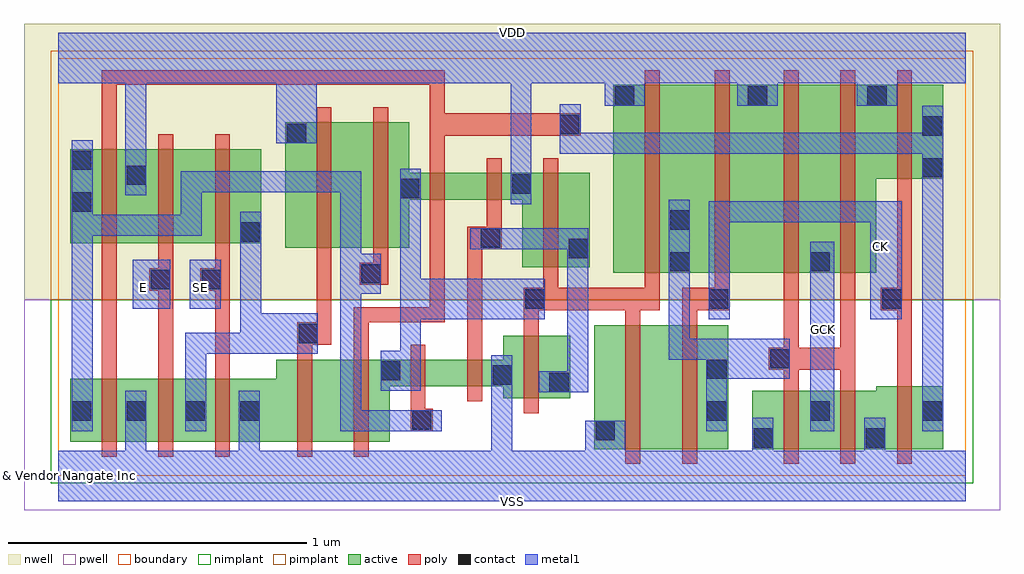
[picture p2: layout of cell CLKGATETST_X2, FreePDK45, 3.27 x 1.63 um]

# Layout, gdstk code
import gdstk
lib = gdstk.Library(unit=1e-6, precision=1e-10)
def R(c, l, rs):  # rectangles x0, y0, x1, y1
    for r in rs: c.add(gdstk.rectangle(r[:2], r[2:], *l))
def P(c, l, *ps):  # polygons
    for p in ps: c.add(gdstk.Polygon(p, *l))
active = (1, 0)
pwell = (2, 0)
nwell = (3, 0)
nimplant = (4, 0)
pimplant = (5, 0)
poly = (9, 0)
contact = (10, 0)
metal1 = (11, 0)
boundary = (235, 0)

clkgatetst_x2 = lib.new_cell('CLKGATETST_X2')
R(clkgatetst_x2, active, [(1.795,0.09,2.245,0.505), (0.04,0.78,0.68,1.095)])
P(clkgatetst_x2, active, [(0.04,0.115),(0.04,0.325),(0.73,0.325),(0.73,0.39),(1.49,0.39),(1.49,0.47),(1.715,0.47),(1.715,0.26),(1.49,0.26),(1.49,0.3),(1.11,0.3),(1.11,0.115)],
  [(1.555,0.7),(1.555,0.925),(1.175,0.925),(1.175,0.765),(0.76,0.765),(0.76,1.185),(1.175,1.185),(1.175,1.015),(1.78,1.015),(1.78,0.7)],
  [(2.325,0.09),(2.325,0.285),(2.74,0.285),(2.74,0.3),(2.965,0.3),(2.965,0.09)],
  [(1.86,0.68),(1.86,1.31),(2.965,1.31),(2.965,0.995),(2.74,0.995),(2.74,0.68)])
R(clkgatetst_x2, pwell, [(-0.115,-0.115,3.155,0.59)])
R(clkgatetst_x2, nwell, [(-0.115,0.59,3.155,1.515)])
R(clkgatetst_x2, nimplant, [(-0.025,-0.025,3.065,0.59)])
R(clkgatetst_x2, pimplant, [(-0.025,0.59,3.065,1.425)])
P(clkgatetst_x2, poly, [(0.335,0.065),(0.335,0.62),(0.305,0.62),(0.305,0.695),(0.335,0.695),(0.335,1.145),(0.385,1.145),(0.385,0.065)],
  [(0.525,0.065),(0.525,0.62),(0.475,0.62),(0.475,0.695),(0.525,0.695),(0.525,1.145),(0.575,1.145),(0.575,0.065)],
  [(0.8,0.065),(0.8,0.515),(0.865,0.515),(0.865,1.235),(0.915,1.235),(0.915,0.44),(0.85,0.44),(0.85,0.065)],
  [(1.01,0.64),(1.01,0.715),(1.055,0.715),(1.055,1.235),(1.105,1.235),(1.105,0.64)],
  [(1.18,0.15),(1.18,0.44),(1.23,0.44),(1.23,0.225),(1.255,0.225),(1.255,0.15)],
  [(1.37,0.25),(1.37,0.835),(1.435,0.835),(1.435,1.065),(1.485,1.065),(1.485,0.76),(1.42,0.76),(1.42,0.25)],
  [(0.145,0.065),(0.145,1.36),(1.295,1.36),(1.295,1.215),(1.75,1.215),(1.75,1.14),(1.295,1.14),(1.295,0.515),(1.04,0.515),(1.04,0.065),(0.99,0.065),(0.99,0.565),(1.245,0.565),(1.245,1.31),(0.195,1.31),(0.195,0.065)],
  [(1.9,0.04),(1.9,0.555),(1.61,0.555),(1.61,0.21),(1.56,0.21),(1.56,0.63),(1.625,0.63),(1.625,1.065),(1.675,1.065),(1.675,0.63),(1.965,0.63),(1.965,1.36),(2.015,1.36),(2.015,0.555),(1.95,0.555),(1.95,0.04)],
  [(2.09,0.04),(2.09,0.63),(2.2,0.63),(2.2,1.36),(2.25,1.36),(2.25,0.555),(2.14,0.555),(2.14,0.04)],
  [(2.43,0.04),(2.43,0.355),(2.38,0.355),(2.38,0.43),(2.43,0.43),(2.43,1.36),(2.48,1.36),(2.48,0.43),(2.62,0.43),(2.62,1.36),(2.67,1.36),(2.67,0.04),(2.62,0.04),(2.62,0.355),(2.48,0.355),(2.48,0.04)],
  [(2.81,0.04),(2.81,0.555),(2.755,0.555),(2.755,0.63),(2.81,0.63),(2.81,1.36),(2.86,1.36),(2.86,0.04)])
R(clkgatetst_x2, contact, [(2.33,0.095,2.395,0.16), (2.705,0.095,2.77,0.16), (1.8,0.12,1.865,0.185), (1.185,0.155,1.25,0.22), (0.045,0.185,0.11,0.25), (0.23,0.185,0.295,0.25), (0.425,0.185,0.49,0.25), (0.61,0.185,0.675,0.25), (2.175,0.185,2.24,0.25), (2.52,0.185,2.585,0.25), (2.895,0.185,2.96,0.25), (1.645,0.28,1.71,0.345), (1.455,0.305,1.52,0.37), (1.08,0.32,1.145,0.385), (2.175,0.325,2.24,0.39), (2.385,0.36,2.45,0.425), (0.805,0.445,0.87,0.51), (1.565,0.56,1.63,0.625), (2.18,0.56,2.245,0.625), (2.76,0.56,2.825,0.625), (0.31,0.625,0.375,0.69), (0.48,0.625,0.545,0.69), (1.015,0.645,1.08,0.71), (2.05,0.685,2.115,0.75), (2.52,0.685,2.585,0.75), (1.71,0.73,1.775,0.795), (1.415,0.765,1.48,0.83), (0.61,0.785,0.675,0.85), (2.05,0.825,2.115,0.89), (0.045,0.885,0.11,0.95), (1.145,0.93,1.21,0.995), (1.52,0.945,1.585,1.01), (0.23,0.975,0.295,1.04), (2.895,1,2.96,1.065), (0.045,1.025,0.11,1.09), (0.765,1.115,0.83,1.18), (2.895,1.14,2.96,1.205), (1.68,1.145,1.745,1.21), (1.865,1.24,1.93,1.305), (2.31,1.24,2.375,1.305), (2.71,1.24,2.775,1.305)])
R(clkgatetst_x2, metal1, [(2.52,0.15,2.6,0.785), (0.25,0.56,0.375,0.725), (0.44,0.56,0.545,0.725)])
P(clkgatetst_x2, metal1, [(0.425,0.15),(0.425,0.48),(0.61,0.48),(0.61,0.885),(0.68,0.885),(0.68,0.545),(0.87,0.545),(0.87,0.41),(0.495,0.41),(0.495,0.15)],
  [(0.045,0.15),(0.045,1.125),(0.115,1.125),(0.115,0.875),(0.41,0.875),(0.41,1.02),(1.015,1.02),(1.015,0.745),(1.08,0.745),(1.08,0.61),(1.015,0.61),(1.015,0.22),(1.285,0.22),(1.285,0.15),(0.945,0.15),(0.945,0.95),(0.48,0.95),(0.48,0.805),(0.115,0.805),(0.115,0.15)],
  [(1.08,0.285),(1.08,0.42),(1.145,0.42),(1.145,1.03),(1.215,1.03),(1.215,0.66),(1.63,0.66),(1.63,0.525),(1.215,0.525),(1.215,0.285)],
  [(1.61,0.28),(1.61,0.35),(1.705,0.35),(1.705,0.76),(1.38,0.76),(1.38,0.83),(1.775,0.83),(1.775,0.28)],
  [(2.17,0.15),(2.17,0.39),(2.045,0.39),(2.045,0.925),(2.115,0.925),(2.115,0.46),(2.45,0.46),(2.45,0.325),(2.24,0.325),(2.24,0.15)],
  [(2.18,0.525),(2.18,0.92),(2.825,0.92),(2.825,0.525),(2.72,0.525),(2.72,0.85),(2.25,0.85),(2.25,0.525)],
  [(2.895,0.15),(2.895,1.08),(1.68,1.08),(1.68,1.245),(1.75,1.245),(1.75,1.15),(2.895,1.15),(2.895,1.24),(2.965,1.24),(2.965,0.15)],
  [(0,-0.085),(0,0.085),(0.225,0.085),(0.225,0.285),(0.295,0.285),(0.295,0.085),(0.605,0.085),(0.605,0.285),(0.675,0.285),(0.675,0.085),(1.45,0.085),(1.45,0.405),(1.52,0.405),(1.52,0.085),(1.765,0.085),(1.765,0.185),(1.9,0.185),(1.9,0.085),(2.325,0.085),(2.325,0.195),(2.395,0.195),(2.395,0.085),(2.7,0.085),(2.7,0.195),(2.77,0.195),(2.77,0.085),(3.04,0.085),(3.04,-0.085)],
  [(1.515,0.91),(1.515,1.315),(0.865,1.315),(0.865,1.115),(0.73,1.115),(0.73,1.315),(0.295,1.315),(0.295,0.94),(0.225,0.94),(0.225,1.315),(0,1.315),(0,1.485),(3.04,1.485),(3.04,1.315),(2.81,1.315),(2.81,1.24),(2.675,1.24),(2.675,1.315),(2.41,1.315),(2.41,1.24),(2.275,1.24),(2.275,1.315),(1.965,1.315),(1.965,1.24),(1.83,1.24),(1.83,1.315),(1.585,1.315),(1.585,0.91)])
R(clkgatetst_x2, boundary, [(0,0,3.04,1.4)])
clkgatetst_x2.add(gdstk.Label('CK', (2.755,0.77), layer=11, texttype=0))
clkgatetst_x2.add(gdstk.Label('E', (0.285,0.63), layer=11, texttype=0))
clkgatetst_x2.add(gdstk.Label('GCK', (2.565,0.49), layer=11, texttype=0))
clkgatetst_x2.add(gdstk.Label('SE', (0.475,0.63), layer=11, texttype=0))
clkgatetst_x2.add(gdstk.Label('VDD', (1.52,1.485), layer=11, texttype=0))
clkgatetst_x2.add(gdstk.Label('VSS', (1.52,-0.085), layer=11, texttype=0))
clkgatetst_x2.add(gdstk.Label('& Vendor Nangate Inc', (0,0), layer=63, texttype=63))
clkgatetst_x2.add(gdstk.Label('& Product Open Cell Library', (0,0), layer=63, texttype=63))
clkgatetst_x2.add(gdstk.Label('& Version 2010_12', (0,0), layer=63, texttype=63))
clkgatetst_x2.add(gdstk.Label('& Instance CLKGATETST_X2', (0,0), layer=63, texttype=63))

lib.write_gds('CLKGATETST_X2.gds')
